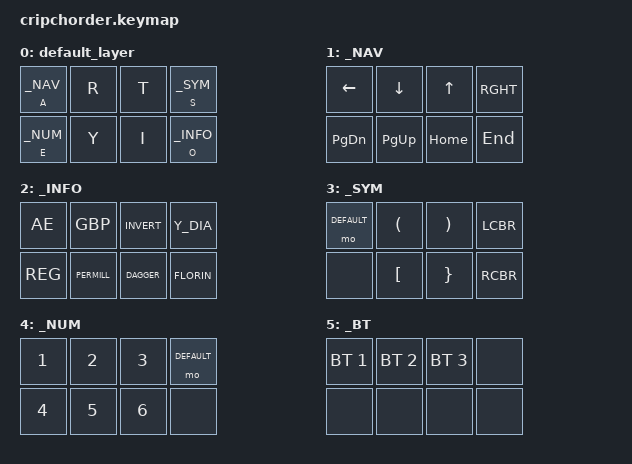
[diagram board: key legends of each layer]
// LET OP! Deze .keymap-file is bedoeld als de centrale plek voor je keybindings en layers. Als er een .keymap-file aanwezig is, dan gebruikt ZMK die in plaats van wat er in je .overlay-file staat.
// Dus: de .keymap heeft voorrang, en het is dus niet nodig (en zelfs verwarrend) om keybindings in beide bestanden te zetten.
// Je kunt de keymap-node die je in de .overlay gedefinieerd hebt dus weghalen zodra je een goede .keymap hebt.



// this file is for chord definitions = matching keys and/or key-combinations to output and or actions
/ {
    keymap {  
        // This is the part of the program where you define the output of each of the 8 keys 
        // when they are pressed individually.
        // The 'keymap' node defines what each physical key does in different layers.

        compatible = "zmk,keymap";

        // ===========================
        // ZMK Keycodes – Symbol Reference
        // ===========================
        // This list explains the abbreviations used for symbols in the keymap
        // Sorted alphabetically for clarity
        //
        // AE         → Æ         (Ligature AE)
        // AMPS       → &         (Ampersand)
        // AMPERSAND  → &         (Ampersand)
        // ASTRK      → *         (Asterisk)
        // ATSIGN     → @         (At sign)
        // BACKSLASH  → \         (Backslash)
        // BKSP       → ←         (Backspace)
        // CIRC       → ^         (Circumflex accent)
        // COLON      → :         (Colon)
        // COMMA      → ,         (Comma)
        // DAGGER     → ‡         (Double dagger / annotation)
        // DLLR       → $         (Dollar sign)
        // DOT        → .         (Period / Dot)
        // DQUOTE     → "         (Double quote)
        // EQUAL      → =         (Equals sign)
        // EURO       → €         (Euro symbol)
        // EXCL       → !         (Exclamation mark)
        // FLORIN     → ƒ         (Florin / old Dutch currency)
        // GRAVE      → `         (Grave accent)
        // GT         → >         (Greater than)
        // HASH       → #         (Hash sign)
        // INVERT     → ¿         (Inverted question mark)
        // LCBR       → {         (Left curly brace)
        // LBKT       → [         (Left square bracket)
        // LPAR       → (         (Left parenthesis)
        // LT         → <         (Less than)
        // MINUS      → -         (Minus sign / Hyphen)
        // PARA       → §         (Paragraph symbol)
        // PERMILL    → ‰         (Per mille sign)
        // PERCENT    → %         (Percent sign)
        // PIPE       → |         (Vertical bar)
        // PLUS       → +         (Plus sign)
        // QMARK      → ?         (Question mark)
        // QUOTE      → '         (Single quote / Apostrophe)
        // RCBR       → }         (Right curly brace)
        // RBRC       → ]         (Right square bracket)
        // REG        → ®         (Registered trademark symbol)
        // RPAR       → )         (Right parenthesis)
        // SEMI       → ;         (Semicolon)
        // SLASH      → /         (Forward slash)
        // TILDE      → ~         (Tilde)
        // UNDER      → _         (Underscore)
        // UNDERSCORE → _         (Underscore)
        // Y_DIA      → ÿ         (y with diaeresis)
        //
        // Function keys:
        // F1       → Function key 1
        // F2       → Function key 2
        // ...
        // F12      → Function key 12
        //
        // Media keys: (these I do not use)
        // C_PLAY   → Play/Pause
        // C_NEXT   → Next Track
        // C_PREV   → Previous Track
        // C_VOL_UP → Volume Up
        // C_VOL_DN → Volume Down
        // C_MUTE   → Mute
        //
        // Modifier combinations (examples):
        // a modifier gives a key two functions, the first function is when you keep pressing it and don't let it go
        // the second function is what happens when you press it for a short tim (you TAP it) and then you let it go
        // NB: &mo does not give a key two functions. it is a temporary shortcut to another layer
        // &mt LCTRL ESC   → Hold = Left Ctrl, Tap = Escape // 
        // &lt LALT TAB    → Hold = Left Alt, Tap = Tab // the first function should be a _LAYER, so the example is incorrect
        // &mo _LAYER      → Momentary switch to layer _LAYER // when you let the key go, you switch back to the layer you came from
        //
        // Navigation keys:
        // LEFT     → left arrow
        // RIGHT    → right arrow
        // UP       → up arrow
        // DOWN     → down arrow
        // PG_DN    → page down
        // PG_UP    → page up
        // HOME     → beginning of line or document
        // END      → end of line or document
        // ===========================
        // This is the end of the list of ZMK Keycodes, now comes the real code! 
        // ===========================

        default_layer { // Artsey.io base layer with mod-tap for O / _INFO
            bindings = <
                &mt A _NAV &kp R &kp T &mt S _SYM // A/NAV, R, T, S/SYM
                &mt E _NUM &kp Y &kp I &mt O _INFO //E/NUM, Y, I, O/INFO
            >;
        };

        _NAV {
            // Navigation layer with arrow keys, page up/down, home/end
            bindings = <
                &kp LEFT &kp DOWN &kp UP &kp RGHT
                &kp PG_DN &kp PG_UP &kp HOME &kp END
            >;
        };

        _INFO {
            // Layer for triggering macros using rare characters to isolate combos
            bindings = <
                &kp AE &kp GBP &kp INVERT &kp Y_DIA
                &kp REG &kp PERMILL &kp DAGGER &kp FLORIN
            >;
        };

        _SYM {
    // Artsey v0.8.1 symbols layer:
    // 0 = toggle (exit)
    // 1 = (
    // 2 = )
    // 3 = {
    // 4 = none
    // 5 = [
    // 6 = ]
    // 7 = }
    bindings = <
        &mo DEFAULT   &kp LPAR   &kp RPAR   &kp LCBR
        &none         &kp LBKT   &kp RBRC   &kp RCBR
    >;
};

        _NUM {
    // Artsey v0.8.1 number layer:
    // 1 = toets 0
    // 2 = toets 1
    // 3 = toets 2
    // 4 = toets 4
    // 5 = toets 5
    // 6 = toets 6
    // 3 (positie 3) = laag-toggle (exit)
    // 7, 8 = &none
    bindings = <
        &kp 1    &kp 2    &kp 3    &mo DEFAULT
        &kp 4    &kp 5    &kp 6    &none
    >;
};


        _BT { // Bluetooth profile select layer
            bindings = <
                &bt BT_SEL 1 &bt BT_SEL 2 &bt BT_SEL 3 &none
                &none &none &none &none
            >;
        };
    };

    combos {
        compatible = "zmk,combos";

        // ======= BASE LAYER COMBOS (Artsey combos, default_layer only) =======
        // All combos below are active only in the default/base layer.

        // B: 4+7
        combo_b {
            key-positions = <4 7>;
            layers = <default_layer>;
            bindings = <&kp B>;
            // Combo for letter B: 4+7
        };

        // C: 4+5
        combo_c {
            key-positions = <4 5>;
            layers = <default_layer>;
            bindings = <&kp C>;
            // Combo for letter C: 4+5
        };

        // D: 0+1+2
        combo_d {
            key-positions = <0 1 2>;
            layers = <default_layer>;
            bindings = <&kp D>;
            // Combo for letter D: 0+1+2
        };

        // F: 0+1
        combo_f {
            key-positions = <0 1>;
            layers = <default_layer>;
            bindings = <&kp F>;
            // Combo for letter F: 0+1
        };

        // G: 1+2
        combo_g {
            key-positions = <1 2>;
            layers = <default_layer>;
            bindings = <&kp G>;
            // Combo for letter G: 1+2
        };

        // H: 4+6
        combo_h {
            key-positions = <4 6>;
            layers = <default_layer>;
            bindings = <&kp H>;
            // Combo for letter H: 4+6
        };

        // J: 2+3
        combo_j {
            key-positions = <2 3>;
            layers = <default_layer>;
            bindings = <&kp J>;
            // Combo for letter J: 2+3
        };

        // K: 5+7
        combo_k {
            key-positions = <5 7>;
            layers = <default_layer>;
            bindings = <&kp K>;
            // Combo for letter K: 5+7
        };

        // L: 4+5+6
        combo_l {
            key-positions = <4 5 6>;
            layers = <default_layer>;
            bindings = <&kp L>;
            // Combo for letter L: 4+5+6
        };

        // M: 5+6+7
        combo_m {
            key-positions = <5 6 7>;
            layers = <default_layer>;
            bindings = <&kp M>;
            // Combo for letter M: 5+6+7
        };

        // N: 6+7
        combo_n {
            key-positions = <6 7>;
            layers = <default_layer>;
            bindings = <&kp N>;
            // Combo for letter N: 6+7
        };

        // P: 4+6+7
        combo_p {
            key-positions = <4 6 7>;
            layers = <default_layer>;
            bindings = <&kp P>;
            // Combo for letter P: 4+6+7
        };

        // Q: 0+2+3
        combo_q {
            key-positions = <0 2 3>;
            layers = <default_layer>;
            bindings = <&kp Q>;
            // Combo for letter Q: 0+2+3
        };

        // U: 5+6
        combo_u {
            key-positions = <5 6>;
            layers = <default_layer>;
            bindings = <&kp U>;
            // Combo for letter U: 5+6
        };

        // V: 1+3
        combo_v {
            key-positions = <1 3>;
            layers = <default_layer>;
            bindings = <&kp V>;
            // Combo for letter V: 1+3
        };

        // W: 0+3
        combo_w {
            key-positions = <0 3>;
            layers = <default_layer>;
            bindings = <&kp W>;
            // Combo for letter W: 0+3
        };

        // X: 1+2+3
        combo_x {
            key-positions = <1 2 3>;
            layers = <default_layer>;
            bindings = <&kp X>;
            // Combo for letter X: 1+2+3
        };

        // Z: 0+1+2+3
        combo_z {
            key-positions = <0 1 2 3>;
            layers = <default_layer>;
            bindings = <&kp Z>;
            // Combo for letter Z: 0+1+2+3
        };

        // ENTER: 0+4
        combo_enter {
            key-positions = <0 4>;
            layers = <default_layer>;
            bindings = <&kp ENTER>;
            // Combo for Enter: 0+4
        };

        // ESC: 0+1+7
        combo_esc {
            key-positions = <0 1 7>;
            layers = <default_layer>;
            bindings = <&kp ESC>;
            // Combo for Escape: 0+1+7
        };

        // " (double quote): 0+5+6
        combo_dquote {
            key-positions = <0 5 6>;
            layers = <default_layer>;
            bindings = <&kp DQUOTE>;
            // Combo for double quote: 0+5+6
        };

        // TAB: 0+1+2+7
        combo_tab {
            key-positions = <0 1 2 7>;
            layers = <default_layer>;
            bindings = <&kp TAB>;
            // Combo for Tab: 0+1+2+7
        };

        // . (full stop): 0+5
        combo_dot {
            key-positions = <0 5>;
            layers = <default_layer>;
            bindings = <&kp DOT>;
            // Combo for dot/period: 0+5
        };

        // CTRL: 3+4
        combo_ctrl {
            key-positions = <3 4>;
            layers = <default_layer>;
            bindings = <&kp LCTRL>;
            // Combo for Left Ctrl: 3+4
        };

        // , (comma): 0+6
        combo_comma {
            key-positions = <0 6>;
            layers = <default_layer>;
            bindings = <&kp COMMA>;
            // Combo for comma: 0+6
        };

        // GUI: 3+5
        combo_gui {
            key-positions = <3 5>;
            layers = <default_layer>;
            bindings = <&kp LGUI>;
            // Combo for Left GUI (Windows/Command): 3+5
        };

        // / (slash): 0+7
        combo_slash {
            key-positions = <0 7>;
            layers = <default_layer>;
            bindings = <&kp SLASH>;
            // Combo for slash: 0+7
        };

        // ALT: 3+6
        combo_alt {
            key-positions = <3 6>;
            layers = <default_layer>;
            bindings = <&kp LALT>;
            // Combo for Left Alt: 3+6
        };

        // ! (exclamation mark): 2+6
        combo_excl {
            key-positions = <2 6>;
            layers = <default_layer>;
            bindings = <&kp EXCL>;
            // Combo for exclamation: 2+6
        };

        // SHIFT: 1+2+3+4
        combo_shift {
            key-positions = <1 2 3 4>;
            layers = <default_layer>;
            bindings = <&kp LSHIFT>;
            // Combo for Left Shift: 1+2+3+4
        };

        // SPACE: 4+5+6+7
        combo_space {
            key-positions = <4 5 6 7>;
            layers = <default_layer>;
            bindings = <&kp SPACE>;
            // Combo for spacebar: 4+5+6+7
        };

        // SHIFT (LOCK): 1+5
        combo_shiftlock {
            key-positions = <1 5>;
            layers = <default_layer>;
            bindings = <&kp CAPSLOCK>;
            // Combo for Shift Lock: 1+5 (implemented as Caps Lock here)
        };

        // BACKSPACE: 1+4
        combo_bksp {
            key-positions = <1 4>;
            layers = <default_layer>;
            bindings = <&kp BKSP>;
            // Combo for Backspace: 1+4
        };

        // CAPS LOCK: 0+5+6+7
        combo_capslock {
            key-positions = <0 5 6 7>;
            layers = <default_layer>;
            bindings = <&kp CAPSLOCK>;
            // Combo for Caps Lock: 0+5+6+7
        };

        // DELETE: 1+6
        combo_del {
            key-positions = <1 6>;
            layers = <default_layer>;
            bindings = <&kp DEL>;
            // Combo for Delete: 1+6
        };

        // CLEAR BLUETOOTH: 1+2+5+6
        combo_bt_clear {
            key-positions = <1 2 5 6>;
            layers = <default_layer>;
            bindings = <&bt BT_CLR>;
            // Combo for Bluetooth profile clear/reset: 1+2+5+6
        };

// ======= PERSONAL MACROS (INFO layer only) =======
        artsey_combo_hi {
            timeout-ms = <30>;
            key-positions = <0 4>;
            layers = <_INFO>;
            bindings = <&macro_hi>;
        };
        artsey_combo_thanks {
            timeout-ms = <30>;
            key-positions = <1 3 5>;
            layers = <_INFO>;
            bindings = <&macro_thanks>;
        };
        email_reply_combo_info {
            timeout-ms = <30>;
            key-positions = <4 6>;
            layers = <_INFO>;
            bindings = <&macro_email_reply>;
        };

        // ======= NAVIGATION COMBOS (NAV layer only) =======
        nav_combo_left {
            key-positions = <0 1>;
            layers = <_NAV>;
            bindings = <&kp LEFT>;
        };
        nav_combo_down {
            key-positions = <0 2>;
            layers = <_NAV>;
            bindings = <&kp DOWN>;
        };
        nav_combo_up {
            key-positions = <0 3>;
            layers = <_NAV>;
            bindings = <&kp UP>;
        };
        nav_combo_right {
            key-positions = <1 2>;
            layers = <_NAV>;
            bindings = <&kp RGHT>;
        };
        nav_combo_pgdn {
            key-positions = <1 3>;
            layers = <_NAV>;
            bindings = <&kp PG_DN>;
        };
        nav_combo_pgup {
            key-positions = <2 3>;
            layers = <_NAV>;
            bindings = <&kp PG_UP>;
        };
        nav_combo_home {
            key-positions = <4 5>;
            layers = <_NAV>;
            bindings = <&kp HOME>;
        };
        nav_combo_end {
            key-positions = <6 7>;
            layers = <_NAV>;
            bindings = <&kp END>;
        };

        // ======= SYMBOL COMBOS (SYM layer only) =======
        sym_combo_lpar {
            key-positions = <0 1>;
            layers = <_SYM>;
            bindings = <&kp LPAR>;
        };
        sym_combo_rpar {
            key-positions = <2 3>;
            layers = <_SYM>;
            bindings = <&kp RPAR>;
        };
        sym_combo_lbkt {
            key-positions = <0 2>;
            layers = <_SYM>;
            bindings = <&kp LBKT>;
        };
        sym_combo_rbkt {
            key-positions = <1 3>;
            layers = <_SYM>;
            bindings = <&kp RBRC>;
        };
        sym_combo_lcbr {
            key-positions = <0 3>;
            layers = <_SYM>;
            bindings = <&kp LCBR>;
        };
        sym_combo_rcbr {
            key-positions = <1 2>;
            layers = <_SYM>;
            bindings = <&kp RCBR>;
        };
        sym_combo_minus {
            key-positions = <4 6>;
            layers = <_SYM>;
            bindings = <&kp MINUS>;
        };
        sym_combo_equal {
            key-positions = <5 7>;
            layers = <_SYM>;
            bindings = <&kp EQUAL>;
        };

       // ======= NUMERIC COMBOS (NUM layer only) =======
num_combo_7 {
    key-positions = <0 1>; // toets 0+1 = 1+2
    layers = <_NUM>;
    bindings = <&kp 7>;
};
num_combo_8 {
    key-positions = <1 2>; // toets 1+2 = 2+3
    layers = <_NUM>;
    bindings = <&kp 8>;
};
num_combo_9 {
    key-positions = <4 5>; // toets 4+5 = 4+5
    layers = <_NUM>;
    bindings = <&kp 9>;
};
num_combo_0 {
    key-positions = <5 6>; // toets 5+6 = 5+6
    layers = <_NUM>;
    bindings = <&kp 0>;
};


    macros { 
        // before flashing to ZMK change the placeholders for the real info
        // after flashing put back the placeholders again to protect privacy in GitHub

        compatible = "zmk,macros";

        macro_hi {
            label = "Say hi";
            bindings = <&str "Hi there!">;
        };

        macro_groetjes {
            label = "mvg";
            bindings = <&str "Met vriendelijke groet, ">;
        };

        macro_thanks {
            label = "Thanks";
            bindings = <&str "Thanks for your message. ">;
        };

        macro_email_reply {
            label = "Standard email reply";
            bindings = <&str "Beste,\n\nDank voor uw bericht. Ik kom er zo spoedig mogelijk op terug.\n\nMet vriendelijke groet,\nLiesbeth">;
        };

        info_macro_email {
            label = "Email address";
            bindings = <&str "your.name@example.com">;
        };

        info_macro_tel {
            label = "Phone number";
            bindings = <&str "+31 6 12345678">;
        };

        info_macro_addr {
            label = "Address";
            bindings = <&str "1234 AB Amsterdam">;
        };
    };
};
